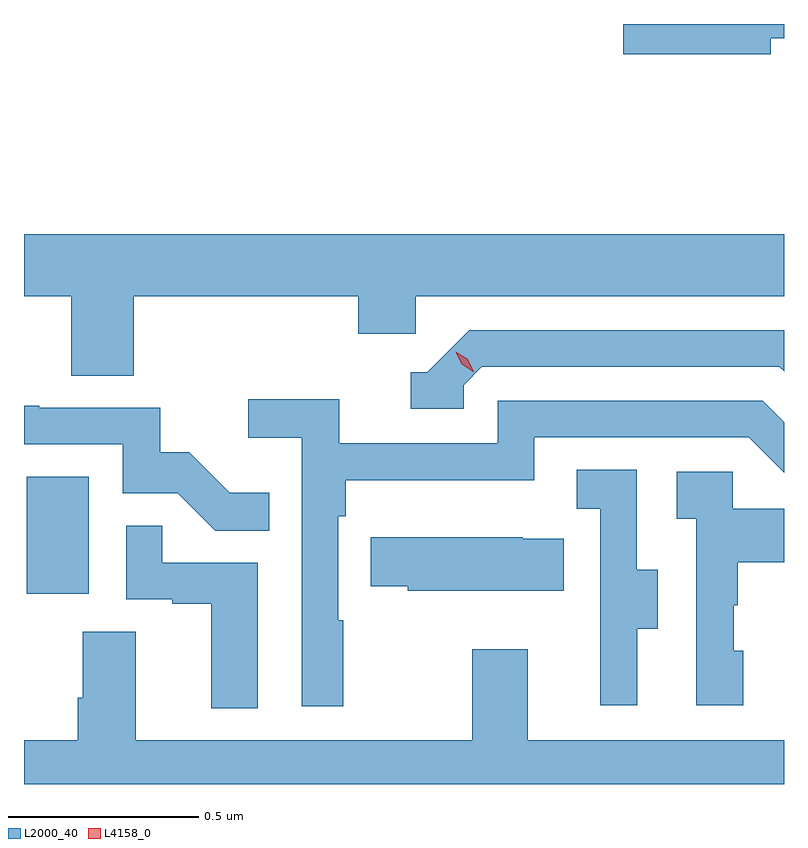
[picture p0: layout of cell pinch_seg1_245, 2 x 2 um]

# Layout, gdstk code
import gdstk
lib = gdstk.Library(unit=1e-6, precision=1e-09)
def R(c, l, rs):  # rectangles x0, y0, x1, y1
    for r in rs: c.add(gdstk.rectangle(r[:2], r[2:], *l))
def P(c, l, *ps):  # polygons
    for p in ps: c.add(gdstk.Polygon(p, *l))
L2000_40 = (2000, 40)
L4158_0 = (4158, 0)

pinch_seg1_245 = lib.new_cell('pinch_seg1_245')
R(pinch_seg1_245, L2000_40, [(929,564.27,929.164,564.577)])
P(pinch_seg1_245, L2000_40, [(930.958,565.732),(930.993,565.732),(930.993,565.769),(930.57,565.769),(930.57,565.69),(930.958,565.69)],
  [(929.282,565.052),(929.873,565.052),(929.873,564.954),(930.024,564.954),(930.024,565.052),(930.993,565.052),(930.993,565.216),(928.993,565.216),(928.993,565.052),(929.117,565.052),(929.117,564.844),(929.282,564.844)],
  [(930.15,564.819),(930.198,564.867),(930.981,564.867),(930.993,564.855),(930.993,564.963),(930.165,564.963),(930.054,564.852),(930.011,564.852),(930.011,564.756),(930.15,564.756)],
  [(929.833,564.2),(929.82,564.2),(929.82,564.473),(929.84,564.473),(929.84,564.569),(930.336,564.569),(930.336,564.681),(930.9,564.681),(930.993,564.588),(930.993,564.721),(930.937,564.777),(930.24,564.777),(930.24,564.666),(929.822,564.666),(929.822,564.782),(929.583,564.782),(929.583,564.68),(929.724,564.68),(929.724,563.973),(929.833,563.973)],
  [(929.639,564.535),(929.535,564.535),(929.428,564.642),(929.352,564.642),(929.352,564.759),(929.033,564.759),(929.033,564.764),(928.993,564.764),(928.993,564.663),(929.253,564.663),(929.253,564.534),(929.398,564.534),(929.496,564.436),(929.639,564.436)],
  [(930.607,564.178),(930.661,564.178),(930.661,564.333),(930.606,564.333),(930.606,564.596),(930.447,564.596),(930.447,564.493),(930.51,564.493),(930.51,564.189),(930.509,564.189),(930.509,563.976),(930.607,563.976)],
  [(930.886,564.12),(930.861,564.12),(930.861,564.239),(930.871,564.239),(930.871,564.353),(930.993,564.353),(930.993,564.493),(930.858,564.493),(930.858,564.591),(930.711,564.591),(930.711,564.467),(930.762,564.467),(930.762,563.976),(930.886,563.976)],
  [(929.608,564.351),(929.357,564.351),(929.357,564.449),(929.262,564.449),(929.262,564.255),(929.383,564.255),(929.383,564.243),(929.486,564.243),(929.486,563.969),(929.608,563.969)],
  [(930.413,564.415),(930.305,564.415),(930.305,564.418),(929.905,564.418),(929.905,564.289),(930.003,564.289),(930.003,564.278),(930.413,564.278)],
  [(930.993,563.884),(930.319,563.884),(930.319,564.124),(930.172,564.124),(930.172,563.884),(929.287,563.884),(929.287,564.17),(929.147,564.17),(929.147,563.996),(929.135,563.996),(929.135,563.884),(928.993,563.884),(928.993,563.769),(930.993,563.769)])
P(pinch_seg1_245, L4158_0, [(930.175,564.854),(930.145,564.874),(930.129,564.907),(930.129,564.907),(930.129,564.907),(930.16,564.888),(930.176,564.855),(930.176,564.854)])

lib.write_gds('pinch_seg1_245.gds')
